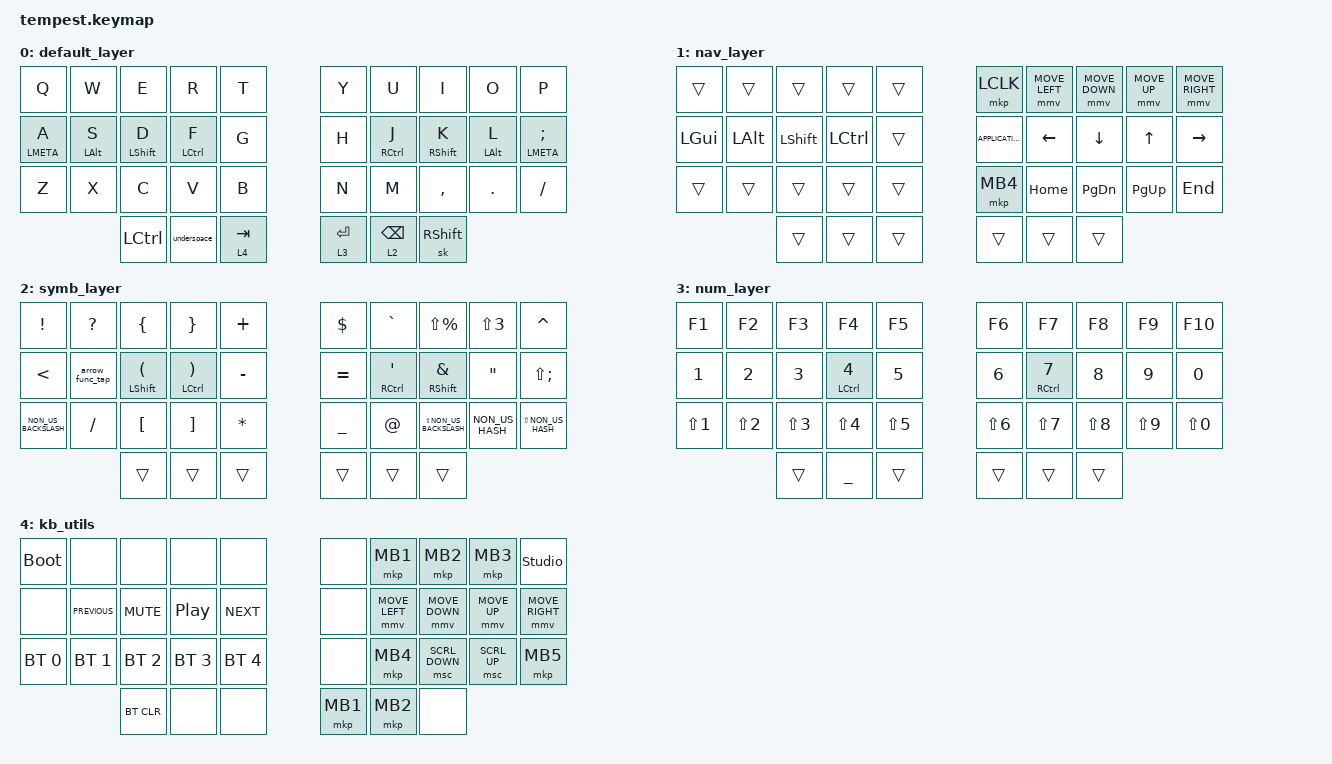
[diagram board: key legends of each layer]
/*
 * Copyright (c) 2020 The ZMK Contributors
 *
 * SPDX-License-Identifier: MIT
 */

#define ZMK_POINTING_DEFAULT_MOVE_VAL 800  // default: 600
#define ZMK_POINTING_DEFAULT_SCRL_VAL 20    // default: 10

#include <behaviors.dtsi>
#include <dt-bindings/zmk/bt.h>
#include <dt-bindings/zmk/keys.h>
#include <dt-bindings/zmk/pointing.h>

&sk {
    release-after-ms = <1000>;
    quick-release;
    lazy;
    ignore-modifiers;
};

&mmv {
    acceleration-exponent = <1>;          // 1
    time-to-max-speed-ms = <500>;         // 300
    delay-ms = <0>;                       // 0
};

&lt {
    tapping-term-ms = <200>; // default 200
    flavor = "balanced"; // or hold-preferred or tap-preferred
    quick-tap-ms = <150>;
};

/ {
    combos {
        compatible = "zmk,combos";

        combo_caps_word {
            bindings = <&caps_word>;
            key-positions = <14 15>;
            layers = <0>;
        };

        combo_esc {
            bindings = <&kp ESCAPE>;
            key-positions = <1 0>;
            layers = <0>;
        };

        combo_vol_up {
            bindings = <&kp C_VOLUME_UP>;
            key-positions = <9 19>;
            layers = <0>;
        };

        combo_vol_down {
            bindings = <&kp C_VOLUME_DOWN>;
            key-positions = <19 29>;
            layers = <0>;
        };

        combo_CAPS_LOCK {
            bindings = <&kp CAPSLOCK>;
            key-positions = <4 5>;
            layers = <0>;
        };

        combo_Delete {
            bindings = <&kp DELETE>;
            key-positions = <9 8>;
            layers = <0>;
        };

        combo_underscore {
            bindings = <&kp UNDER>;
            key-positions = <7 6>;
            layers = <0>;
        };

        combo_dash {
            bindings = <&kp MINUS>;
            key-positions = <3 2>;
            layers = <0>;
        };

        combo_em-dash {
            bindings = <&emdsh>;
            key-positions = <2 3 1>;
            layers = <0>;
        };

        combo_f19 {
            bindings = <&kp F19>;
            key-positions = <4 0 5 9>;
            layers = <0>;
        };
    };

    macros {
        arrow_func: arrow_func {
            compatible = "zmk,behavior-macro";
            #binding-cells = <0>;
            bindings = <&kp EQUAL &kp GT>, <&macro_press>;

            label = "ARROW_FUNC";
        };

        emdsh: emdsh {
            compatible = "zmk,behavior-macro";
            #binding-cells = <0>;
            bindings =
                <&kp SPACE &kp MINUS &kp MINUS &kp SPACE>,
                <&macro_press>;

            label = "EMDSH";
        };
    };

    behaviors {
        bhm: balanced_homerow_mods {
            compatible = "zmk,behavior-hold-tap";
            #binding-cells = <2>;
            tapping-term-ms = <200>;    // <---[[moderate duration]]
            quick-tap-ms = <0>;
            flavor = "balanced";
            bindings = <&kp>, <&kp>;
        };

        arrow_func_tap: arrow_func_tap {
            compatible = "zmk,behavior-tap-dance";
            label = "ARROW_FUNC_TAP";
            #binding-cells = <0>;
            bindings = <&kp GREATER_THAN>, <&arrow_func>;
        };

        underspace: underspace {
            compatible = "zmk,behavior-mod-morph";
            label = "UNDERSPACE";
            bindings = <&lt 1 SPACE>, <&kp UNDER>;

            #binding-cells = <0>;
            mods = <(MOD_RSFT)>;
        };
    };

    keymap {
        compatible = "zmk,keymap";

        default_layer {
            // -----------------------------------------------------------------------------------------
            // ||  Q  |  W  |  E  |  R  |  T  ||                ||  Y  |  U   |  I  |  O  |  P  || 
            // ||  A  |  S  |  D  |  F  |  G  ||                ||  H  |  J   |  K  |  L  |  ;  || 
            // ||  Z  |  X  |  C  |  V  |  B  ||                ||  N  |  M   |  ,  |  .  |  /  || 
            //                    | GUI | LWR | SPC ||    || ENT | RSE | ALT  |

            bindings = <
&kp Q         &kp W            &kp E              &kp R         &kp T      &kp Y      &kp U            &kp I               &kp O            &kp P
&bhm LMETA A  &bhm LEFT_ALT S  &bhm LEFT_SHIFT D  &bhm LCTRL F  &kp G      &kp H      &bhm RCTRL J     &bhm RIGHT_SHIFT K  &bhm LEFT_ALT L  &bhm LMETA SEMICOLON
&kp Z         &kp X            &kp C              &kp V         &kp B      &kp N      &kp M            &kp COMMA           &kp DOT          &kp FSLH
                               &kp LCTRL          &underspace   &lt 4 TAB  &lt 3 RET  &lt 2 BACKSPACE  &sk RIGHT_SHIFT
            >;
        };

        nav_layer {
            bindings = <
&trans    &trans    &trans          &trans            &trans  &mkp LCLK          &mmv MOVE_LEFT  &mmv MOVE_DOWN  &mmv MOVE_UP  &mmv MOVE_RIGHT
&kp LGUI  &kp LALT  &kp LEFT_SHIFT  &kp LEFT_CONTROL  &trans  &kp K_APPLICATION  &kp LEFT        &kp DOWN_ARROW  &kp UP_ARROW  &kp RIGHT
&trans    &trans    &trans          &trans            &trans  &mkp MB4           &kp HOME        &kp PAGE_DOWN   &kp PG_UP     &kp END
                    &trans          &trans            &trans  &trans             &trans          &trans
            >;
        };

        symb_layer {
            bindings = <
&kp EXCLAMATION       &kp QUESTION     &kp LEFT_BRACE                    &kp RIGHT_BRACE               &kp PLUS      &kp DOLLAR      &kp GRAVE                &kp LS(PERCENT)             &kp LS(NUMBER_3)   &kp CARET
&kp LESS_THAN         &arrow_func_tap  &bhm LEFT_SHIFT LEFT_PARENTHESIS  &bhm LCTRL RIGHT_PARENTHESIS  &kp MINUS     &kp EQUAL       &bhm RCTRL SINGLE_QUOTE  &bhm RIGHT_SHIFT AMPERSAND  &kp DOUBLE_QUOTES  &kp LS(SEMICOLON)
&kp NON_US_BACKSLASH  &kp SLASH        &kp LEFT_BRACKET                  &kp RIGHT_BRACKET             &kp ASTERISK  &kp UNDERSCORE  &kp AT_SIGN              &kp LS(NON_US_BACKSLASH)    &kp NON_US_HASH    &kp LS(NON_US_HASH)
                                       &trans                            &trans                        &trans        &trans          &trans                   &trans
            >;
        };

        num_layer {
            bindings = <
&kp F1      &kp F2      &kp F3      &kp F4               &kp F5      &kp F6      &kp F7               &kp F8      &kp F9      &kp F10
&kp N1      &kp N2      &kp N3      &bhm LCTRL NUMBER_4  &kp N5      &kp N6      &bhm RCTRL NUMBER_7  &kp N8      &kp N9      &kp N0
&kp LS(N1)  &kp LS(N2)  &kp LS(N3)  &kp LS(N4)           &kp LS(N5)  &kp LS(N6)  &kp LS(N7)           &kp LS(N8)  &kp LS(N9)  &kp LS(N0)
                        &trans      &kp UNDER            &trans      &trans      &trans               &trans
            >;
        };

        kb_utils {
            bindings = <
&bootloader   &none           &none         &none             &none         &none     &mkp MB1        &mkp MB2        &mkp MB3      &studio_unlock
&none         &kp C_PREVIOUS  &kp C_MUTE    &kp C_PLAY_PAUSE  &kp C_NEXT    &none     &mmv MOVE_LEFT  &mmv MOVE_DOWN  &mmv MOVE_UP  &mmv MOVE_RIGHT
&bt BT_SEL 0  &bt BT_SEL 1    &bt BT_SEL 2  &bt BT_SEL 3      &bt BT_SEL 4  &none     &mkp MB4        &msc SCRL_DOWN  &msc SCRL_UP  &mkp MB5
                              &bt BT_CLR    &none             &none         &mkp MB1  &mkp MB2        &none
            >;
        };
    };

    conditional_layers { compatible = "zmk,conditional-layers"; };
};
